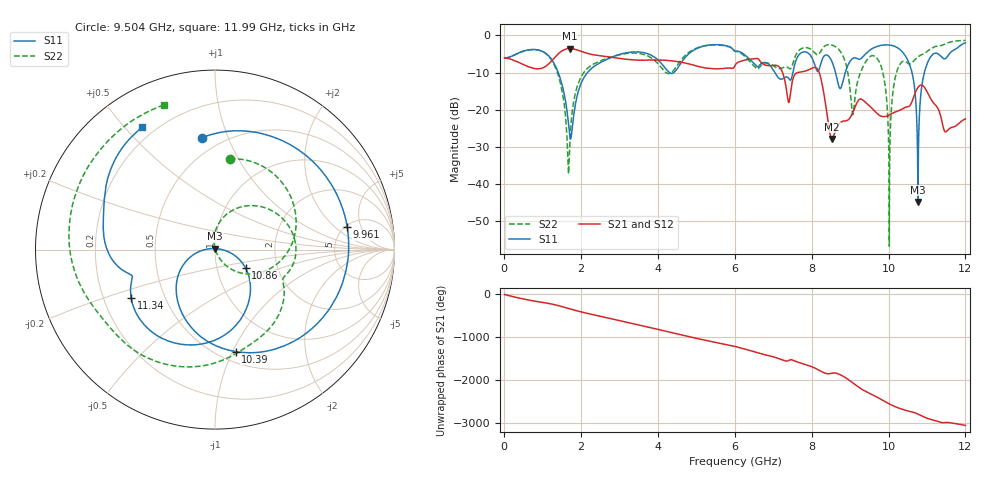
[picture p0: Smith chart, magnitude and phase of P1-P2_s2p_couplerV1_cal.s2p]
!Keysight Technologies,N5242B,US61255121,A.15.50.07
!Date: Tuesday, October 28, 2025 15:18:21
!Correction: S11(C  2-Port  )
!S21(C  2-Port  )
!S12(C  2-Port  )
!S22(C  2-Port  )
!S2P File: Measurements: S11, S21, S12, S22:
# Hz S  dB  R 50
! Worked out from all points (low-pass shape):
!   11991 points, 10 MHz to 12 GHz, reference 50 ohm
!   highest |S21| = -3.52 dB at 1.701 GHz (marker M1); lowest = -27.8 dB at 8.529 GHz (marker M2)
!   |S21| within 3 dB of the highest: 1.262 GHz to 3.271 GHz (2.009 GHz wide, 88.6 % of centre); 6.311 GHz to 6.63 GHz (318.9 MHz wide, 4.93 % of centre) (the widest 2 of 3)
!   lowest |S11| = -44.7 dB at 10.77 GHz (marker M3), VSWR 1.01, Z = 50.1 + j0.574 ohm
!   |S11| at or under -10 dB: 1.405 GHz to 2.165 GHz (759.4 MHz wide, 42.5 % of centre); 7.045 GHz to 7.511 GHz (465.9 MHz wide, 6.4 % of centre); 10.61 GHz to 10.93 GHz (321 MHz wide, 2.98 % of centre) (the widest 3 of 5)
!   |S22| runs from -56.6 to -1.4 dB; largest |S21 - S12| = 0.0015
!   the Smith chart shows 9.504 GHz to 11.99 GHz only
!   S11 on the Smith chart (normalised r, x): 9.504 GHz: 0.39, +0.81; 9.961 GHz: 5.19, +2.95; 10.39 GHz: 0.60, -1.03; 10.86 GHz: 1.37, -0.29; 11.34 GHz: 0.32, -0.24; 11.99 GHz: 0.15, +0.56
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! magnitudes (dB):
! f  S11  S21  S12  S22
! 10 MHz  -6.0  -6.0  -6.0  -6.0
! 1.196 GHz  -6.0  -7.3  -7.3  -6.1
! 1.701 GHz  -26.6  -3.5  -3.5  -30.1
! 2.009 GHz  -12.7  -4.3  -4.3  -11.0
! 4.007 GHz  -6.6  -6.6  -6.6  -7.7
! 6.005 GHz  -4.3  -8.1  -8.1  -4.2
! 7.403 GHz  -11.6  -18.0  -18.0  -8.8
! 8.004 GHz  -5.9  -8.8  -8.8  -3.9
! 8.529 GHz  -7.1  -27.8  -27.8  -2.6
! 8.746 GHz  -14.3  -23.4  -23.4  -4.3
! 9.073 GHz  -6.2  -20.7  -20.7  -21.3
! 9.504 GHz  -4.0  -19.0  -18.9  -5.8
! 9.814 GHz  -2.7  -21.7  -21.7  -8.5
! 9.961 GHz  -2.5  -21.6  -21.6  -18.7
! 10 GHz  -2.6  -21.5  -21.4  -29.0
! 10.39 GHz  -4.7  -19.6  -19.6  -6.9
! 10.63 GHz  -10.7  -17.4  -17.4  -7.2
! 10.77 GHz  -44.7  -14.0  -14.0  -5.8
! 10.86 GHz  -14.0  -13.4  -13.3  -5.2
! 11.34 GHz  -5.4  -20.9  -20.9  -2.8
! 11.99 GHz  -2.0  -22.5  -22.5  -1.4
! 12 GHz  -2.0  -22.4  -22.4  -1.4
